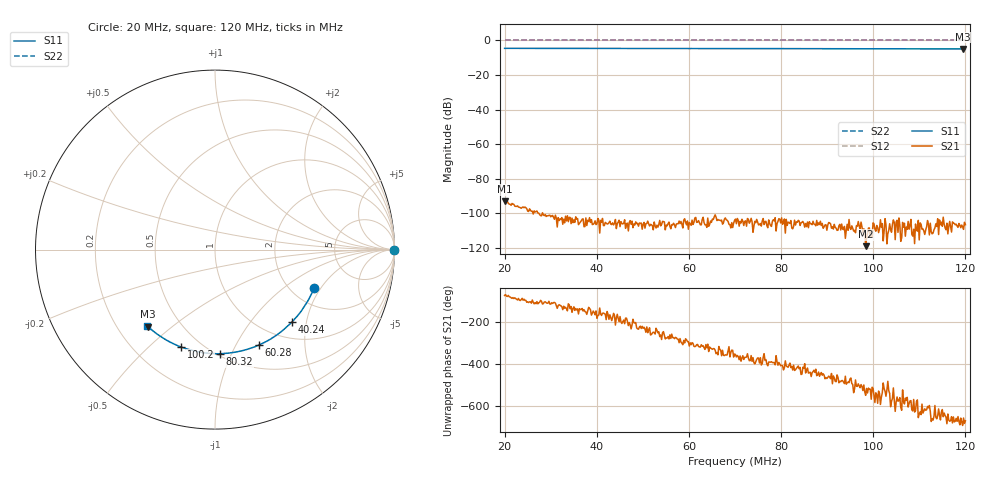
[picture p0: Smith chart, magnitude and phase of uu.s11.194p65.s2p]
! Anritsu VNA Master:  Model: MS2036C/10/77
! SN:  1601066
! /card0/usr/uu.s11.194p465.s2p
! Existing Calibration Information:
! TYPE:  Current Settings,  Active Cal Settings
! TIME:  05/23/2018 11:40:04 AM,  05/23/2018 11:36:58 AM
! INTERNAL TEMP:  48.8 C,  48.8 C
! # POINTS:  500,  500
! START FREQ:  20.000 MHz,  20.000 MHz
! STOP FREQ:  120.000 MHz,  120.000 MHz
! SOURCE POWER:  High,  High
! IFBW:  50 Hz,  50 Hz
! AVG FACTOR:  1 ,  1
! REF PLANE 1:  0 mm,  0 mm
! REF PLANE 2:  0 mm,  0 mm
! CAL TYPE:  Full S11,  Full S11
! CAL METHOD:  SOLT,  SOLT
! CAL LINE TYPE:  Coax,  Coax
! DUT PORT 1:  K-Conn(M),  K-Conn(M)
! DUT PORT 2:  K-Conn(M),  K-Conn(M)
! CAL STATUS:  OK: Accuracy High,  --
# GHZ S DB R 50.0
! FREQ.GHZ  S11DB  S11A  S21DB  S21A  S12DB  S12A  S22DB  S22A
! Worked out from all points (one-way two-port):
!   500 points, 20 MHz to 120 MHz, reference 50 ohm
!   highest |S21| = -92.88 dB at 20 MHz (marker M1); lowest = -118.9 dB at 98.36 MHz (marker M2)
!   lowest |S11| = -4.9 dB at 119.4 MHz (marker M3), VSWR 3.64, Z = 16.3 - j20.8 ohm
!   |S11| at or under -10 dB: nowhere
!   |S22| runs from 0.0 to 0.0 dB; largest |S21 - S12| = 1
!   S11 on the Smith chart (normalised r, x): 20 MHz: 2.63, -1.74; 40.24 MHz: 1.34, -1.65; 60.28 MHz: 0.78, -1.25; 80.32 MHz: 0.52, -0.91; 100.2 MHz: 0.39, -0.64; 120 MHz: 0.33, -0.41
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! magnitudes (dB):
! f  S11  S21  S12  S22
! 20 MHz  -4.6  -92.9  0.0  0.0
! 30.62 MHz  -4.6  -102.3  0.0  0.0
! 31.62 MHz  -4.6  -102.4  0.0  0.0
! 36.83 MHz  -4.6  -103.3  0.0  0.0
! 40.24 MHz  -4.6  -102.9  0.0  0.0
! 53.47 MHz  -4.6  -106.4  0.0  0.0
! 56.67 MHz  -4.6  -105.7  0.0  0.0
! 60.28 MHz  -4.7  -106.1  0.0  0.0
! 61.88 MHz  -4.7  -105.0  0.0  0.0
! 62.89 MHz  -4.7  -103.5  0.0  0.0
! 65.09 MHz  -4.7  -103.3  0.0  0.0
! 70.1 MHz  -4.7  -103.3  0.0  0.0
! 80.32 MHz  -4.7  -106.3  0.0  0.0
! 86.73 MHz  -4.7  -106.5  0.0  0.0
! 91.94 MHz  -4.8  -108.5  0.0  0.0
! 98.36 MHz  -4.8  -118.9  0.0  0.0
! 100.2 MHz  -4.8  -105.9  0.0  0.0
! 103.4 MHz  -4.8  -109.8  0.0  0.0
! 108.2 MHz  -4.9  -103.5  0.0  0.0
! 113.6 MHz  -4.9  -106.0  0.0  0.0
! 119.4 MHz  -4.9  -107.7  0.0  0.0
! 120 MHz  -4.9  -106.5  0.0  0.0
